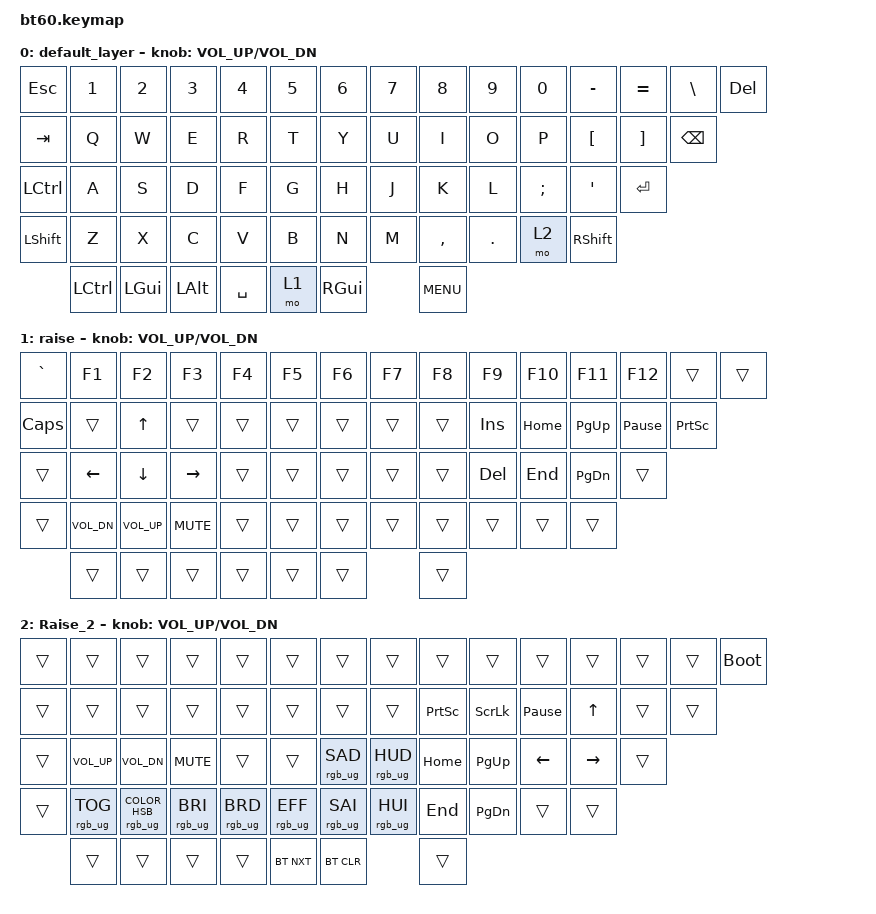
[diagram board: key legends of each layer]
#include <behaviors.dtsi>
#include <dt-bindings/zmk/keys.h>
#include <dt-bindings/zmk/rgb.h>
#include <dt-bindings/zmk/bt.h>

/ {
    keymap {
        compatible = "zmk,keymap";

        default_layer {
            // ------------------------------------------------------------------------------------------
            // | ESC |  1  |  2  |  3  |  4  |  5  |  6  |  7  |  8  |  9  |  0  |  -  |  =  | BKSP |DEL|
            // | TAB  |  Q  |  W  |  E  |  R  |  T  |  Y  |  U  |  I  |  O  |  P  |  [  |  ]  |   "|"   |
            // | CAPS  |  A  |  S  |  D  |  F  |  G  |  H  |  J  |  K  |  L  |  ;  |  '  |     ENTER    |
            // |  SHIFT    |  Z  |  X  |  C  |  V  |  B  |  N  |  M  |  ,  |  .  | /   | SHIFT |    1   |
            // |  CTL  |  WIN  |  ALT  |                     SPACE               |   ALT   |  1  | CTRL |
            // ------------------------------------------------------------------------------------------

            bindings = <
         &kp ESC     &kp N1    &kp N2    &kp N3     &kp N4  &kp N5    &kp N6  &kp N7      &kp N8   &kp N9    &kp N0  &kp MINUS  &kp EQUAL  &kp BACKSLASH  &kp DEL
         &kp TAB      &kp Q     &kp W     &kp E      &kp R   &kp T     &kp Y   &kp U       &kp I    &kp O     &kp P   &kp LBKT   &kp RBKT  &kp BACKSPACE
&kp LEFT_CONTROL      &kp A     &kp S     &kp D      &kp F   &kp G     &kp H   &kp J       &kp K    &kp L  &kp SEMI    &kp SQT    &kp RET
       &kp LSHFT      &kp Z     &kp X     &kp C      &kp V   &kp B     &kp N   &kp M   &kp COMMA  &kp DOT     &mo 2  &kp RSHFT
                  &kp LCTRL  &kp LGUI  &kp LALT  &kp SPACE   &mo 1  &kp RGUI          &kp C_MENU
            >;

            sensor-bindings = <&inc_dec_kp C_VOL_UP C_VOL_DN>;
        };

        raise {
            bindings = <
   &kp GRAVE        &kp F1        &kp F2      &kp F3  &kp F4  &kp F5  &kp F6  &kp F7  &kp F8      &kp F9   &kp F10        &kp F11          &kp F12           &trans  &trans
&kp CAPSLOCK        &trans        &kp UP      &trans  &trans  &trans  &trans  &trans  &trans     &kp INS  &kp HOME    &kp PAGE_UP  &kp PAUSE_BREAK  &kp PRINTSCREEN
      &trans      &kp LEFT      &kp DOWN   &kp RIGHT  &trans  &trans  &trans  &trans  &trans  &kp DELETE   &kp END  &kp PAGE_DOWN           &trans
      &trans  &kp C_VOL_DN  &kp C_VOL_UP  &kp C_MUTE  &trans  &trans  &trans  &trans  &trans      &trans    &trans         &trans
                    &trans        &trans      &trans  &trans  &trans  &trans          &trans
            >;

            sensor-bindings = <&inc_dec_kp C_VOL_UP C_VOL_DN>;
        };

        Raise_2 {
            bindings = <
&trans           &trans                            &trans           &trans           &trans           &trans           &trans           &trans           &trans          &trans           &trans     &trans  &trans  &trans  &bootloader
&trans           &trans                            &trans           &trans           &trans           &trans           &trans           &trans  &kp PRINTSCREEN  &kp SCROLLLOCK  &kp PAUSE_BREAK     &kp UP  &trans  &trans
&trans     &kp C_VOL_UP                      &kp C_VOL_DN       &kp K_MUTE           &trans           &trans  &rgb_ug RGB_SAD  &rgb_ug RGB_HUD         &kp HOME       &kp PG_UP         &kp LEFT  &kp RIGHT  &trans
&trans  &rgb_ug RGB_TOG  &rgb_ug RGB_COLOR_HSB(56,100,60)  &rgb_ug RGB_BRI  &rgb_ug RGB_BRD  &rgb_ug RGB_EFF  &rgb_ug RGB_SAI  &rgb_ug RGB_HUI          &kp END       &kp PG_DN           &trans     &trans
                 &trans                            &trans           &trans           &trans       &bt BT_NXT       &bt BT_CLR                            &trans
            >;

            sensor-bindings = <&inc_dec_kp C_VOL_UP C_VOL_DN>;
        };
    };
};
